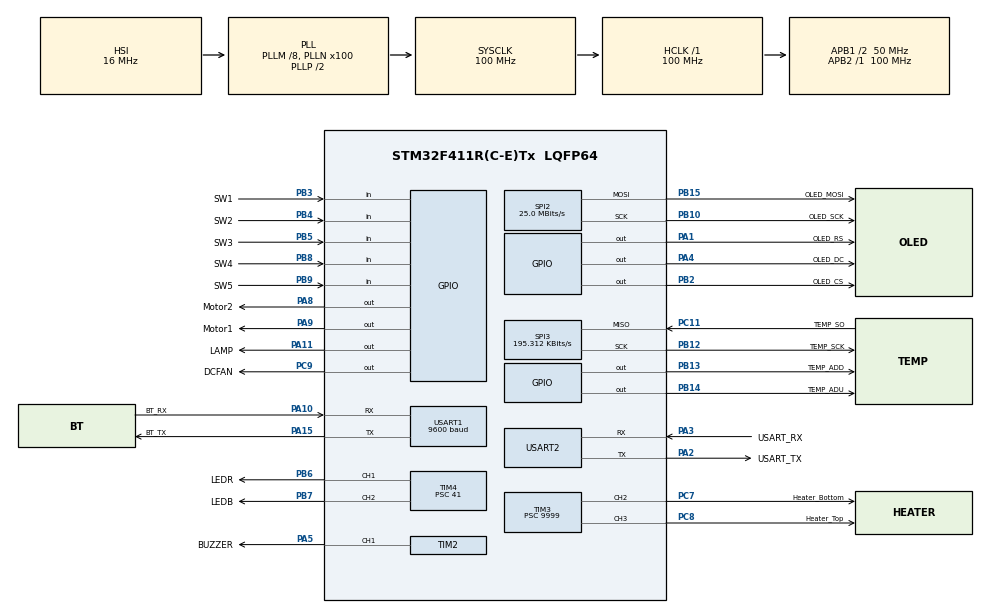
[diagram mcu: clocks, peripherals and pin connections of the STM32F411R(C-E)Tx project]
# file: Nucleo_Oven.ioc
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Mcu.Family=STM32F4
Mcu.Name=STM32F411R(C-E)Tx
Mcu.Package=LQFP64
NVIC.PriorityGroup=NVIC_PRIORITYGROUP_4
NVIC.TIM1_BRK_TIM9_IRQn=true\:0\:0\:false\:false\:true\:true\:true
PA1.GPIO_Label=OLED_RS
PA1.Signal=GPIO_Output
PA10.GPIO_Label=BT_RX
PA10.Mode=Asynchronous
PA10.Signal=USART1_RX
PA11.GPIO_Label=LAMP
PA11.GPIO_ModeDefaultOutputPP=GPIO_MODE_OUTPUT_OD
PA11.GPIO_PuPd=GPIO_NOPULL
PA11.PinState=GPIO_PIN_SET
PA11.Signal=GPIO_Output
PA13.Mode=Serial_Wire
PA13.Signal=SYS_JTMS-SWDIO
PA14.Mode=Serial_Wire
PA14.Signal=SYS_JTCK-SWCLK
PA15.GPIO_Label=BT_TX
PA15.Mode=Asynchronous
PA15.Signal=USART1_TX
PA2.GPIO_Label=USART_TX
PA2.Mode=Asynchronous
PA2.Signal=USART2_TX
PA3.GPIO_Label=USART_RX
PA3.Mode=Asynchronous
PA3.Signal=USART2_RX
PA4.GPIO_Label=OLED_DC
PA4.Signal=GPIO_Output
PA5.GPIO_Label=BUZZER
PA5.Signal=S_TIM2_CH1_ETR
PA8.GPIO_Label=Motor2
PA8.GPIO_ModeDefaultOutputPP=GPIO_MODE_OUTPUT_OD
PA8.GPIO_PuPd=GPIO_NOPULL
PA8.PinState=GPIO_PIN_SET
PA8.Signal=GPIO_Output
PA9.GPIO_Label=Motor1
PA9.GPIO_ModeDefaultOutputPP=GPIO_MODE_OUTPUT_OD
PA9.GPIO_PuPd=GPIO_NOPULL
PA9.PinState=GPIO_PIN_SET
PA9.Signal=GPIO_Output
PB10.GPIO_Label=OLED_SCK
PB10.Mode=TX_Only_Simplex_Unidirect_Master
PB10.Signal=SPI2_SCK
PB12.GPIO_Label=TEMP_SCK
PB12.GPIO_PuPd=GPIO_NOPULL
PB12.Mode=RX_Only_Simplex_Unidirect_Master
PB12.Signal=SPI3_SCK
PB13.GPIO_Label=TEMP_ADD
PB13.GPIO_ModeDefaultOutputPP=GPIO_MODE_OUTPUT_PP
PB13.GPIO_PuPd=GPIO_NOPULL
PB13.GPIO_Speed=GPIO_SPEED_FREQ_VERY_HIGH
PB13.PinState=GPIO_PIN_SET
PB13.Signal=GPIO_Output
PB14.GPIO_Label=TEMP_ADU
PB14.GPIO_ModeDefaultOutputPP=GPIO_MODE_OUTPUT_PP
PB14.GPIO_PuPd=GPIO_NOPULL
PB14.GPIO_Speed=GPIO_SPEED_FREQ_VERY_HIGH
PB14.PinState=GPIO_PIN_SET
PB14.Signal=GPIO_Output
PB15.GPIO_Label=OLED_MOSI
PB15.Mode=TX_Only_Simplex_Unidirect_Master
PB15.Signal=SPI2_MOSI
PB2.GPIO_Label=OLED_CS
PB2.Signal=GPIO_Output
PB3.GPIO_Label=SW1
PB3.GPIO_PuPd=GPIO_PULLUP
PB3.Signal=GPIO_Input
PB4.GPIO_Label=SW2
PB4.GPIO_PuPd=GPIO_PULLUP
PB4.Signal=GPIO_Input
PB5.GPIO_Label=SW3
PB5.GPIO_PuPd=GPIO_PULLUP
PB5.Signal=GPIO_Input
PB6.GPIO_Label=LEDR
PB6.GPIO_Speed=GPIO_SPEED_FREQ_VERY_HIGH
PB6.Signal=S_TIM4_CH1
PB7.GPIO_Label=LEDB
PB7.GPIO_Speed=GPIO_SPEED_FREQ_VERY_HIGH
PB7.Signal=S_TIM4_CH2
PB8.GPIO_Label=SW4
PB8.GPIO_PuPd=GPIO_PULLUP
PB8.Signal=GPIO_Input
PB9.GPIO_Label=SW5
PB9.GPIO_PuPd=GPIO_PULLUP
PB9.Signal=GPIO_Input
PC11.GPIO_Label=TEMP_SO
PC11.Mode=RX_Only_Simplex_Unidirect_Master
PC11.Signal=SPI3_MISO
PC7.GPIO_Label=Heater_Bottom
PC7.GPIO_ModeDefaultPP=GPIO_MODE_AF_OD
PC7.GPIO_PuPd=GPIO_NOPULL
PC7.Signal=S_TIM3_CH2
PC8.GPIO_Label=Heater_Top
PC8.GPIO_ModeDefaultPP=GPIO_MODE_AF_OD
PC8.GPIO_PuPd=GPIO_NOPULL
PC8.Signal=S_TIM3_CH3
PC9.GPIO_Label=DCFAN
PC9.GPIO_ModeDefaultOutputPP=GPIO_MODE_OUTPUT_OD
PC9.GPIO_PuPd=GPIO_NOPULL
PC9.Signal=GPIO_Output
PH0\ -\ OSC_IN.Mode=HSE-External-Oscillator
PH0\ -\ OSC_IN.Signal=RCC_OSC_IN
PH1\ -\ OSC_OUT.Mode=HSE-External-Oscillator
PH1\ -\ OSC_OUT.Signal=RCC_OSC_OUT
ProjectManager.HeapSize=0x200
ProjectManager.StackSize=0x400
ProjectManager.TargetToolchain=STM32CubeIDE
RCC.48MHZClocksFreq_Value=50000000
RCC.AHBFreq_Value=100000000
RCC.APB1CLKDivider=RCC_HCLK_DIV2
RCC.APB1Freq_Value=50000000
RCC.APB1TimFreq_Value=100000000
RCC.APB2Freq_Value=100000000
RCC.APB2TimFreq_Value=100000000
RCC.CortexFreq_Value=100000000
RCC.HCLKFreq_Value=100000000
RCC.HSE_VALUE=25000000
RCC.HSI_VALUE=16000000
RCC.LSE_VALUE=32768
RCC.PLLM=8
RCC.PLLN=100
RCC.SYSCLKFreq_VALUE=100000000
RCC.SYSCLKSource=RCC_SYSCLKSOURCE_PLLCLK
RCC.VCOOutputFreq_Value=200000000
SH.S_TIM2_CH1_ETR.0=TIM2_CH1,PWM Generation1 CH1
SH.S_TIM3_CH2.0=TIM3_CH2,PWM Generation2 CH2
SH.S_TIM3_CH3.0=TIM3_CH3,PWM Generation3 CH3
SH.S_TIM4_CH1.0=TIM4_CH1,PWM Generation1 CH1
SH.S_TIM4_CH2.0=TIM4_CH2,PWM Generation2 CH2
SPI2.BaudRatePrescaler=SPI_BAUDRATEPRESCALER_2
SPI2.CLKPolarity=SPI_POLARITY_HIGH
SPI2.CalculateBaudRate=25.0 MBits/s
SPI2.Direction=SPI_DIRECTION_2LINES
SPI2.Mode=SPI_MODE_MASTER
SPI2.VirtualType=VM_MASTER
SPI3.BaudRatePrescaler=SPI_BAUDRATEPRESCALER_256
SPI3.CalculateBaudRate=195.312 KBits/s
SPI3.DataSize=SPI_DATASIZE_16BIT
SPI3.Direction=SPI_DIRECTION_2LINES_RXONLY
SPI3.Mode=SPI_MODE_MASTER
SPI3.VirtualType=VM_MASTER
TIM2.Channel-PWM\ Generation1\ CH1=TIM_CHANNEL_1
TIM2.Period=199
TIM2.Prescaler=99
TIM3.Channel-PWM\ Generation2\ CH2=TIM_CHANNEL_2
TIM3.Channel-PWM\ Generation3\ CH3=TIM_CHANNEL_3
TIM3.OCMode_PWM-PWM\ Generation2\ CH2=TIM_OCMODE_PWM2
TIM3.OCMode_PWM-PWM\ Generation3\ CH3=TIM_OCMODE_PWM2
TIM3.Period=9999
TIM3.Prescaler=9999
TIM3.Pulse-PWM\ Generation2\ CH2=0
TIM4.Channel-PWM\ Generation1\ CH1=TIM_CHANNEL_1
TIM4.Channel-PWM\ Generation2\ CH2=TIM_CHANNEL_2
TIM4.OCPolarity_1=TIM_OCPOLARITY_HIGH
TIM4.Period=1023
TIM4.Prescaler=41
TIM9.Period=9999
TIM9.Prescaler=9999
USART1.BaudRate=9600
USART1.VirtualMode=VM_ASYNC
USART2.VirtualMode=VM_ASYNC
VP_TIM3_VS_ClockSourceINT.Mode=Internal
VP_TIM9_VS_ClockSourceINT.Mode=Internal
board=custom

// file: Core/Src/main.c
/* USER CODE BEGIN Header */
/**
  ******************************************************************************
  * @file           : main.c
  * @brief          : Main program body
  ******************************************************************************
  * @attention
  *
  * Copyright (c) 2022 STMicroelectronics.
  * All rights reserved.
  *
  * This software is licensed under terms that can be found in the LICENSE file
  * in the root directory of this software component.
  * If no LICENSE file comes with this software, it is provided AS-IS.
  *
  ******************************************************************************
  */
/* USER CODE END Header */
#include "main.h"

/* USER CODE BEGIN Includes */
#include "stdbool.h"
#include "control.h"
#include "max6675.h"
#include "menu.h"
#include "setting.h"
#include <stdio.h>
#include "config.h"

/* USER CODE END Includes */

/* USER CODE BEGIN PD */
#define TEMPSENSOR_UP_CS_Port GPIOB
#define TEMPSENSOR_UP_CS_Pin GPIO_PIN_14

#define TEMPSENSOR_DOWN_CS_Port GPIOB
#define TEMPSENSOR_DOWN_CS_Pin GPIO_PIN_13

#define FLAG_USE_UART_AS_PRINTF
/* USER CODE END PD */

SPI_HandleTypeDef hspi2;
SPI_HandleTypeDef hspi3;

TIM_HandleTypeDef htim2;
TIM_HandleTypeDef htim3;
TIM_HandleTypeDef htim4;
TIM_HandleTypeDef htim9;

UART_HandleTypeDef huart1;
UART_HandleTypeDef huart2;

/* USER CODE BEGIN PV */

// Tempsensor object
tempsensor_t *thermoTop;
tempsensor_t *thermoBottom;

// Heater object
heater_t *heaterTop;
heater_t *heaterBottom;

// Oven setting object
setting_t *ovenSetting;

/* USER CODE END PV */

void SystemClock_Config(void);
static void MX_GPIO_Init(void);
static void MX_SPI2_Init(void);
static void MX_SPI3_Init(void);
static void MX_USART2_UART_Init(void);
static void MX_USART1_UART_Init(void);
static void MX_TIM4_Init(void);
static void MX_TIM3_Init(void);
static void MX_TIM9_Init(void);
static void MX_TIM2_Init(void);

/* USER CODE BEGIN 0 */
#ifdef FLAG_USE_UART_AS_PRINTF
int _write(int file, char *ptr, int len)
{
	if(HAL_UART_Transmit(&huart2, (uint8_t *)ptr, len, 10) == HAL_OK)
		return len;
	return -1;
}
#endif

/* USER CODE END 0 */

int main(void)
{

  /* MCU Configuration--------------------------------------------------------*/

  /* Reset of all peripherals, Initializes the Flash interface and the Systick. */
  HAL_Init();

  /* Configure the system clock */
  SystemClock_Config();

  /* Initialize all configured peripherals */
  MX_GPIO_Init();
  MX_SPI2_Init();
  MX_SPI3_Init();
  MX_USART2_UART_Init();
  MX_USART1_UART_Init();
  MX_TIM4_Init();
  MX_TIM3_Init();
  MX_TIM9_Init();
  MX_TIM2_Init();
  /* USER CODE BEGIN 2 */
  HAL_TIM_PWM_Start(&htim4, TIM_CHANNEL_1);
  HAL_TIM_PWM_Start(&htim4, TIM_CHANNEL_2);

  /* New temperature sensor object */
  thermoBottom = Custom_Tempsensor(&hspi3, TEMPSENSOR_DOWN_CS_Port, TEMPSENSOR_DOWN_CS_Pin, 300);
  thermoTop = Custom_Tempsensor(&hspi3, TEMPSENSOR_UP_CS_Port, TEMPSENSOR_UP_CS_Pin, 300);

  /* New heater object */
  heaterTop = Custom_HeaterControl(&htim3, TIM_CHANNEL_3);	// HU
  heaterBottom = Custom_HeaterControl(&htim3, TIM_CHANNEL_2);	// HD

  /* New setting object */
  ovenSetting = Custom_Setting(globalFeatureList, globalFeatureListSize);

  /* Start HeaterControl interrupt */
  HAL_TIM_Base_Start_IT(&htim9);
  printf("Hello!\r\n");
  Menu();

  /* USER CODE END 2 */

  /* Infinite loop */
  while (1)
  {

  }
}

void SystemClock_Config(void)
{
  RCC_OscInitTypeDef RCC_OscInitStruct = {0};
  RCC_ClkInitTypeDef RCC_ClkInitStruct = {0};

  /** Configure the main internal regulator output voltage
  */
  __HAL_RCC_PWR_CLK_ENABLE();
  __HAL_PWR_VOLTAGESCALING_CONFIG(PWR_REGULATOR_VOLTAGE_SCALE1);
  /** Initializes the RCC Oscillators according to the specified parameters
  * in the RCC_OscInitTypeDef structure.
  */
  RCC_OscInitStruct.OscillatorType = RCC_OSCILLATORTYPE_HSI;
  RCC_OscInitStruct.HSIState = RCC_HSI_ON;
  RCC_OscInitStruct.HSICalibrationValue = RCC_HSICALIBRATION_DEFAULT;
  RCC_OscInitStruct.PLL.PLLState = RCC_PLL_ON;
  RCC_OscInitStruct.PLL.PLLSource = RCC_PLLSOURCE_HSI;
  RCC_OscInitStruct.PLL.PLLM = 8;
  RCC_OscInitStruct.PLL.PLLN = 100;
  RCC_OscInitStruct.PLL.PLLP = RCC_PLLP_DIV2;
  RCC_OscInitStruct.PLL.PLLQ = 4;
  if (HAL_RCC_OscConfig(&RCC_OscInitStruct) != HAL_OK)
  {
    Error_Handler();
  }
  /** Initializes the CPU, AHB and APB buses clocks
  */
  RCC_ClkInitStruct.ClockType = RCC_CLOCKTYPE_HCLK|RCC_CLOCKTYPE_SYSCLK
                              |RCC_CLOCKTYPE_PCLK1|RCC_CLOCKTYPE_PCLK2;
  RCC_ClkInitStruct.SYSCLKSource = RCC_SYSCLKSOURCE_PLLCLK;
  RCC_ClkInitStruct.AHBCLKDivider = RCC_SYSCLK_DIV1;
  RCC_ClkInitStruct.APB1CLKDivider = RCC_HCLK_DIV2;
  RCC_ClkInitStruct.APB2CLKDivider = RCC_HCLK_DIV1;

  if (HAL_RCC_ClockConfig(&RCC_ClkInitStruct, FLASH_LATENCY_3) != HAL_OK)
  {
    Error_Handler();
  }
}

static void MX_SPI2_Init(void)
{

  /* SPI2 parameter configuration*/
  hspi2.Instance = SPI2;
  hspi2.Init.Mode = SPI_MODE_MASTER;
  hspi2.Init.Direction = SPI_DIRECTION_2LINES;
  hspi2.Init.DataSize = SPI_DATASIZE_8BIT;
  hspi2.Init.CLKPolarity = SPI_POLARITY_HIGH;
  hspi2.Init.CLKPhase = SPI_PHASE_1EDGE;
  hspi2.Init.NSS = SPI_NSS_SOFT;
  hspi2.Init.BaudRatePrescaler = SPI_BAUDRATEPRESCALER_2;
  hspi2.Init.FirstBit = SPI_FIRSTBIT_MSB;
  hspi2.Init.TIMode = SPI_TIMODE_DISABLE;
  hspi2.Init.CRCCalculation = SPI_CRCCALCULATION_DISABLE;
  hspi2.Init.CRCPolynomial = 10;
  if (HAL_SPI_Init(&hspi2) != HAL_OK)
  {
    Error_Handler();
  }

}

static void MX_SPI3_Init(void)
{

  /* SPI3 parameter configuration*/
  hspi3.Instance = SPI3;
  hspi3.Init.Mode = SPI_MODE_MASTER;
  hspi3.Init.Direction = SPI_DIRECTION_2LINES_RXONLY;
  hspi3.Init.DataSize = SPI_DATASIZE_16BIT;
  hspi3.Init.CLKPolarity = SPI_POLARITY_LOW;
  hspi3.Init.CLKPhase = SPI_PHASE_1EDGE;
  hspi3.Init.NSS = SPI_NSS_SOFT;
  hspi3.Init.BaudRatePrescaler = SPI_BAUDRATEPRESCALER_256;
  hspi3.Init.FirstBit = SPI_FIRSTBIT_MSB;
  hspi3.Init.TIMode = SPI_TIMODE_DISABLE;
  hspi3.Init.CRCCalculation = SPI_CRCCALCULATION_DISABLE;
  hspi3.Init.CRCPolynomial = 10;
  if (HAL_SPI_Init(&hspi3) != HAL_OK)
  {
    Error_Handler();
  }

}

static void MX_TIM2_Init(void)
{

  TIM_MasterConfigTypeDef sMasterConfig = {0};
  TIM_OC_InitTypeDef sConfigOC = {0};

  htim2.Instance = TIM2;
  htim2.Init.Prescaler = 99;
  htim2.Init.CounterMode = TIM_COUNTERMODE_UP;
  htim2.Init.Period = 199;
  htim2.Init.ClockDivision = TIM_CLOCKDIVISION_DIV1;
  htim2.Init.AutoReloadPreload = TIM_AUTORELOAD_PRELOAD_DISABLE;
  if (HAL_TIM_PWM_Init(&htim2) != HAL_OK)
  {
    Error_Handler();
  }
  sMasterConfig.MasterOutputTrigger = TIM_TRGO_RESET;
  sMasterConfig.MasterSlaveMode = TIM_MASTERSLAVEMODE_DISABLE;
  if (HAL_TIMEx_MasterConfigSynchronization(&htim2, &sMasterConfig) != HAL_OK)
  {
    Error_Handler();
  }
  sConfigOC.OCMode = TIM_OCMODE_PWM1;
  sConfigOC.Pulse = 0;
  sConfigOC.OCPolarity = TIM_OCPOLARITY_HIGH;
  sConfigOC.OCFastMode = TIM_OCFAST_DISABLE;
  if (HAL_TIM_PWM_ConfigChannel(&htim2, &sConfigOC, TIM_CHANNEL_1) != HAL_OK)
  {
    Error_Handler();
  }
  HAL_TIM_MspPostInit(&htim2);

}

static void MX_TIM3_Init(void)
{

  TIM_ClockConfigTypeDef sClockSourceConfig = {0};
  TIM_MasterConfigTypeDef sMasterConfig = {0};
  TIM_OC_InitTypeDef sConfigOC = {0};

  htim3.Instance = TIM3;
  htim3.Init.Prescaler = 9999;
  htim3.Init.CounterMode = TIM_COUNTERMODE_UP;
  htim3.Init.Period = 9999;
  htim3.Init.ClockDivision = TIM_CLOCKDIVISION_DIV1;
  htim3.Init.AutoReloadPreload = TIM_AUTORELOAD_PRELOAD_DISABLE;
  if (HAL_TIM_Base_Init(&htim3) != HAL_OK)
  {
    Error_Handler();
  }
  sClockSourceConfig.ClockSource = TIM_CLOCKSOURCE_INTERNAL;
  if (HAL_TIM_ConfigClockSource(&htim3, &sClockSourceConfig) != HAL_OK)
  {
    Error_Handler();
  }
  if (HAL_TIM_PWM_Init(&htim3) != HAL_OK)
  {
    Error_Handler();
  }
  sMasterConfig.MasterOutputTrigger = TIM_TRGO_RESET;
  sMasterConfig.MasterSlaveMode = TIM_MASTERSLAVEMODE_DISABLE;
  if (HAL_TIMEx_MasterConfigSynchronization(&htim3, &sMasterConfig) != HAL_OK)
  {
    Error_Handler();
  }
  sConfigOC.OCMode = TIM_OCMODE_PWM2;
  sConfigOC.Pulse = 0;
  sConfigOC.OCPolarity = TIM_OCPOLARITY_HIGH;
  sConfigOC.OCFastMode = TIM_OCFAST_DISABLE;
  if (HAL_TIM_PWM_ConfigChannel(&htim3, &sConfigOC, TIM_CHANNEL_2) != HAL_OK)
  {
    Error_Handler();
  }
  if (HAL_TIM_PWM_ConfigChannel(&htim3, &sConfigOC, TIM_CHANNEL_3) != HAL_OK)
  {
    Error_Handler();
  }
  HAL_TIM_MspPostInit(&htim3);

}

static void MX_TIM4_Init(void)
{

  TIM_MasterConfigTypeDef sMasterConfig = {0};
  TIM_OC_InitTypeDef sConfigOC = {0};

  htim4.Instance = TIM4;
  htim4.Init.Prescaler = 41;
  htim4.Init.CounterMode = TIM_COUNTERMODE_UP;
  htim4.Init.Period = 1023;
  htim4.Init.ClockDivision = TIM_CLOCKDIVISION_DIV1;
  htim4.Init.AutoReloadPreload = TIM_AUTORELOAD_PRELOAD_DISABLE;
  if (HAL_TIM_PWM_Init(&htim4) != HAL_OK)
  {
    Error_Handler();
  }
  sMasterConfig.MasterOutputTrigger = TIM_TRGO_RESET;
  sMasterConfig.MasterSlaveMode = TIM_MASTERSLAVEMODE_DISABLE;
  if (HAL_TIMEx_MasterConfigSynchronization(&htim4, &sMasterConfig) != HAL_OK)
  {
    Error_Handler();
  }
  sConfigOC.OCMode = TIM_OCMODE_PWM1;
  sConfigOC.Pulse = 0;
  sConfigOC.OCPolarity = TIM_OCPOLARITY_HIGH;
  sConfigOC.OCFastMode = TIM_OCFAST_DISABLE;
  if (HAL_TIM_PWM_ConfigChannel(&htim4, &sConfigOC, TIM_CHANNEL_1) != HAL_OK)
  {
    Error_Handler();
  }
  if (HAL_TIM_PWM_ConfigChannel(&htim4, &sConfigOC, TIM_CHANNEL_2) != HAL_OK)
  {
    Error_Handler();
  }
  HAL_TIM_MspPostInit(&htim4);

}

static void MX_TIM9_Init(void)
{

  TIM_ClockConfigTypeDef sClockSourceConfig = {0};

  htim9.Instance = TIM9;
  htim9.Init.Prescaler = 9999;
  htim9.Init.CounterMode = TIM_COUNTERMODE_UP;
  htim9.Init.Period = 9999;
  htim9.Init.ClockDivision = TIM_CLOCKDIVISION_DIV1;
  htim9.Init.AutoReloadPreload = TIM_AUTORELOAD_PRELOAD_DISABLE;
  if (HAL_TIM_Base_Init(&htim9) != HAL_OK)
  {
    Error_Handler();
  }
  sClockSourceConfig.ClockSource = TIM_CLOCKSOURCE_INTERNAL;
  if (HAL_TIM_ConfigClockSource(&htim9, &sClockSourceConfig) != HAL_OK)
  {
    Error_Handler();
  }

}

static void MX_USART1_UART_Init(void)
{

  huart1.Instance = USART1;
  huart1.Init.BaudRate = 9600;
  huart1.Init.WordLength = UART_WORDLENGTH_8B;
  huart1.Init.StopBits = UART_STOPBITS_1;
  huart1.Init.Parity = UART_PARITY_NONE;
  huart1.Init.Mode = UART_MODE_TX_RX;
  huart1.Init.HwFlowCtl = UART_HWCONTROL_NONE;
  huart1.Init.OverSampling = UART_OVERSAMPLING_16;
  if (HAL_UART_Init(&huart1) != HAL_OK)
  {
    Error_Handler();
  }

}

static void MX_USART2_UART_Init(void)
{

  huart2.Instance = USART2;
  huart2.Init.BaudRate = 115200;
  huart2.Init.WordLength = UART_WORDLENGTH_8B;
  huart2.Init.StopBits = UART_STOPBITS_1;
  huart2.Init.Parity = UART_PARITY_NONE;
  huart2.Init.Mode = UART_MODE_TX_RX;
  huart2.Init.HwFlowCtl = UART_HWCONTROL_NONE;
  huart2.Init.OverSampling = UART_OVERSAMPLING_16;
  if (HAL_UART_Init(&huart2) != HAL_OK)
  {
    Error_Handler();
  }

}

static void MX_GPIO_Init(void)
{
  GPIO_InitTypeDef GPIO_InitStruct = {0};

  /* GPIO Ports Clock Enable */
  __HAL_RCC_GPIOH_CLK_ENABLE();
  __HAL_RCC_GPIOA_CLK_ENABLE();
  __HAL_RCC_GPIOB_CLK_ENABLE();
  __HAL_RCC_GPIOC_CLK_ENABLE();

  /*Configure GPIO pin Output Level */
  HAL_GPIO_WritePin(GPIOA, OLED_RS_Pin|OLED_DC_Pin, GPIO_PIN_RESET);

  /*Configure GPIO pin Output Level */
  HAL_GPIO_WritePin(OLED_CS_GPIO_Port, OLED_CS_Pin, GPIO_PIN_RESET);

  /*Configure GPIO pin Output Level */
  HAL_GPIO_WritePin(GPIOB, TEMP_ADD_Pin|TEMP_ADU_Pin, GPIO_PIN_SET);

  /*Configure GPIO pin Output Level */
  HAL_GPIO_WritePin(DCFAN_GPIO_Port, DCFAN_Pin, GPIO_PIN_RESET);

  /*Configure GPIO pin Output Level */
  HAL_GPIO_WritePin(GPIOA, Motor2_Pin|Motor1_Pin|LAMP_Pin, GPIO_PIN_SET);

  /*Configure GPIO pins : OLED_RS_Pin OLED_DC_Pin */
  GPIO_InitStruct.Pin = OLED_RS_Pin|OLED_DC_Pin;
  GPIO_InitStruct.Mode = GPIO_MODE_OUTPUT_PP;
  GPIO_InitStruct.Pull = GPIO_NOPULL;
  GPIO_InitStruct.Speed = GPIO_SPEED_FREQ_LOW;
  HAL_GPIO_Init(GPIOA, &GPIO_InitStruct);

  /*Configure GPIO pin : OLED_CS_Pin */
  GPIO_InitStruct.Pin = OLED_CS_Pin;
  GPIO_InitStruct.Mode = GPIO_MODE_OUTPUT_PP;
  GPIO_InitStruct.Pull = GPIO_NOPULL;
  GPIO_InitStruct.Speed = GPIO_SPEED_FREQ_LOW;
  HAL_GPIO_Init(OLED_CS_GPIO_Port, &GPIO_InitStruct);

  /*Configure GPIO pins : TEMP_ADD_Pin TEMP_ADU_Pin */
  GPIO_InitStruct.Pin = TEMP_ADD_Pin|TEMP_ADU_Pin;
  GPIO_InitStruct.Mode = GPIO_MODE_OUTPUT_PP;
  GPIO_InitStruct.Pull = GPIO_NOPULL;
  GPIO_InitStruct.Speed = GPIO_SPEED_FREQ_VERY_HIGH;
  HAL_GPIO_Init(GPIOB, &GPIO_InitStruct);

  /*Configure GPIO pin : DCFAN_Pin */
  GPIO_InitStruct.Pin = DCFAN_Pin;
  GPIO_InitStruct.Mode = GPIO_MODE_OUTPUT_OD;
  GPIO_InitStruct.Pull = GPIO_NOPULL;
  GPIO_InitStruct.Speed = GPIO_SPEED_FREQ_LOW;
  HAL_GPIO_Init(DCFAN_GPIO_Port, &GPIO_InitStruct);

  /*Configure GPIO pins : Motor2_Pin Motor1_Pin LAMP_Pin */
  GPIO_InitStruct.Pin = Motor2_Pin|Motor1_Pin|LAMP_Pin;
  GPIO_InitStruct.Mode = GPIO_MODE_OUTPUT_OD;
  GPIO_InitStruct.Pull = GPIO_NOPULL;
  GPIO_InitStruct.Speed = GPIO_SPEED_FREQ_LOW;
  HAL_GPIO_Init(GPIOA, &GPIO_InitStruct);

  /*Configure GPIO pins : SW1_Pin SW2_Pin SW3_Pin SW4_Pin
                           SW5_Pin */
  GPIO_InitStruct.Pin = SW1_Pin|SW2_Pin|SW3_Pin|SW4_Pin
                          |SW5_Pin;
  GPIO_InitStruct.Mode = GPIO_MODE_INPUT;
  GPIO_InitStruct.Pull = GPIO_PULLUP;
  HAL_GPIO_Init(GPIOB, &GPIO_InitStruct);

}

void Error_Handler(void)
{
  __disable_irq();
  while (1)
  {
  }
}
